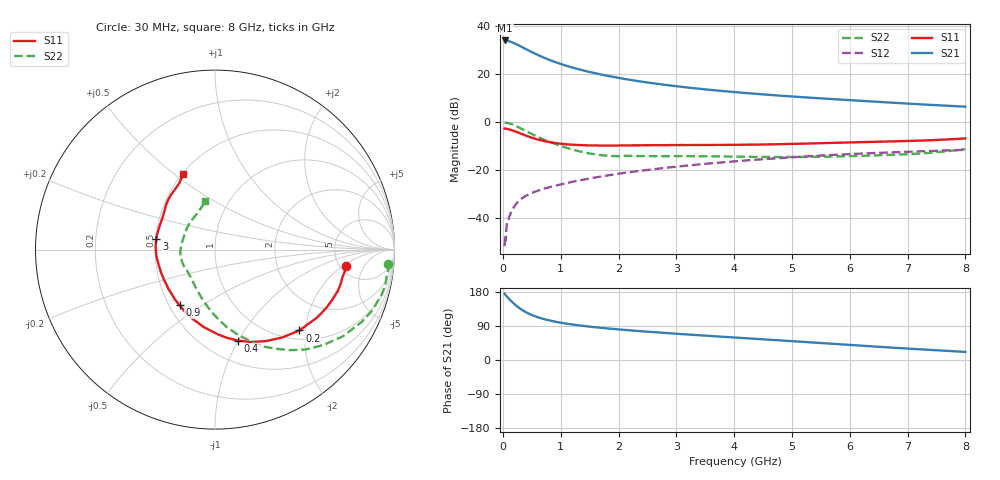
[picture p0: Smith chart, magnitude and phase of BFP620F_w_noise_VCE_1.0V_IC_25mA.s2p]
! Infineon Technologies  Discrete & RF Semiconductors
! BFP620F
! VCE =  1.0 V,  IC =  25 mA
! Common Emitter S-Parameters:  Dec 2014
# GHz  S  MA  R  50
!  f  S11  S21  S12  S22
! GHz  MAG  ANG  MAG  ANG  MAG  ANG  MAG  ANG
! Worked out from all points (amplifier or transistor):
!   95 points, 30 MHz to 8 GHz, reference 50 ohm
!   highest |S21| = 34.1 dB at 40 MHz (marker M1)
!   |S21| within 3 dB of that: start of sweep to 349.2 MHz
!   unconditionally stable (mu >= 1): 2.686 GHz to end of sweep
!   at 300 MHz: K = 0.34, MSG = 32.0 dB, |S12| = -32.3 dB
!   at 3.3 GHz: K = 1.02, MAG = 15.2 dB, |S12| = -17.8 dB
!   at 8 GHz: K = 1.06, MAG = 7.5 dB, |S12| = -11.6 dB
!   lowest NFmin = 1.00 dB at 450 MHz
!   S11 on the Smith chart (normalised r, x): 30 MHz: 5.58, -2.26; 200 MHz: 1.19, -1.86; 400 MHz: 0.71, -1.00; 900 MHz: 0.57, -0.41; 3 GHz: 0.50, +0.07; 8 GHz: 0.50, +0.54
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0.03  0.734 -7.3  50.38 174.7  0.0026 100.1  0.9694 -4.6
0.04  0.7336 -9.6  50.41 172.9  0.0044 86.6  0.9727 -6.5
0.08  0.7219 -18.7  49.7 165.8  0.0084 89.2  0.9641 -14.1
0.12  0.7002 -27.6  47.88 159.0  0.0114 75.6  0.9383 -21.2
0.15  0.6823 -33.9  46.59 154.5  0.0142 76.2  0.9109 -26.3
0.2  0.6509 -43.8  43.87 147.4  0.0176 73.5  0.8606 -34.2
0.25  0.616 -52.7  41.15 141.0  0.0214 69.9  0.8062 -41.2
0.3  0.5833 -61.0  38.4 135.4  0.0242 65.4  0.7521 -47.7
0.4  0.5227 -75.8  33.23 126.0  0.0293 62.9  0.6497 -58.3
0.5  0.4736 -87.8  28.84 118.8  0.0335 60.8  0.5657 -67.1
0.6  0.4357 -98.5  25.25 113.0  0.0369 59.5  0.4945 -74.6
0.7  0.4068 -107.5  22.35 108.4  0.0406 58.9  0.4379 -81.2
0.9  0.3677 -122.5  17.98 101.3  0.0472 58.7  0.3518 -92.5
1.1  0.3451 -134.7  14.95 95.9  0.0536 58.7  0.2919 -102.9
1.4  0.3308 -149.1  11.89 89.8  0.0636 59.0  0.2354 -117.4
2  0.3258 -169.2  8.372 80.8  0.084 58.2  0.195 -143.6
2.7  0.3314 175.4  6.221 72.6  0.1077 55.7  0.1949 -161.3
3  0.3324 170.0  5.61 69.3  0.1179 54.3  0.196 -166.5
4.1  0.3373 153.8  4.139 58.4  0.1553 48.2  0.1904 177.4
5.4  0.362 140.0  3.187 45.8  0.1979 39.3  0.1896 154.2
6.7  0.3959 126.6  2.558 33.0  0.2338 29.6  0.2081 129.5
8  0.4578 113.1  2.101 21.3  0.2645 20.0  0.2742 101.5
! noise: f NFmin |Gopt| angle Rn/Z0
0.45  1  0.01  10  0.2
0.9  1.04  0.01  11  0.16
1.5  1.06  0.02  -150  0.16
1.8  1.07  0.03  -150  0.16
1.9  1.07  0.04  -150  0.15
2.4  1.1  0.06  -147  0.16
3.5  1.17  0.1  -145  0.16
5.5  1.32  0.18  236  0.12
6  1.36  0.18  258  0.15
